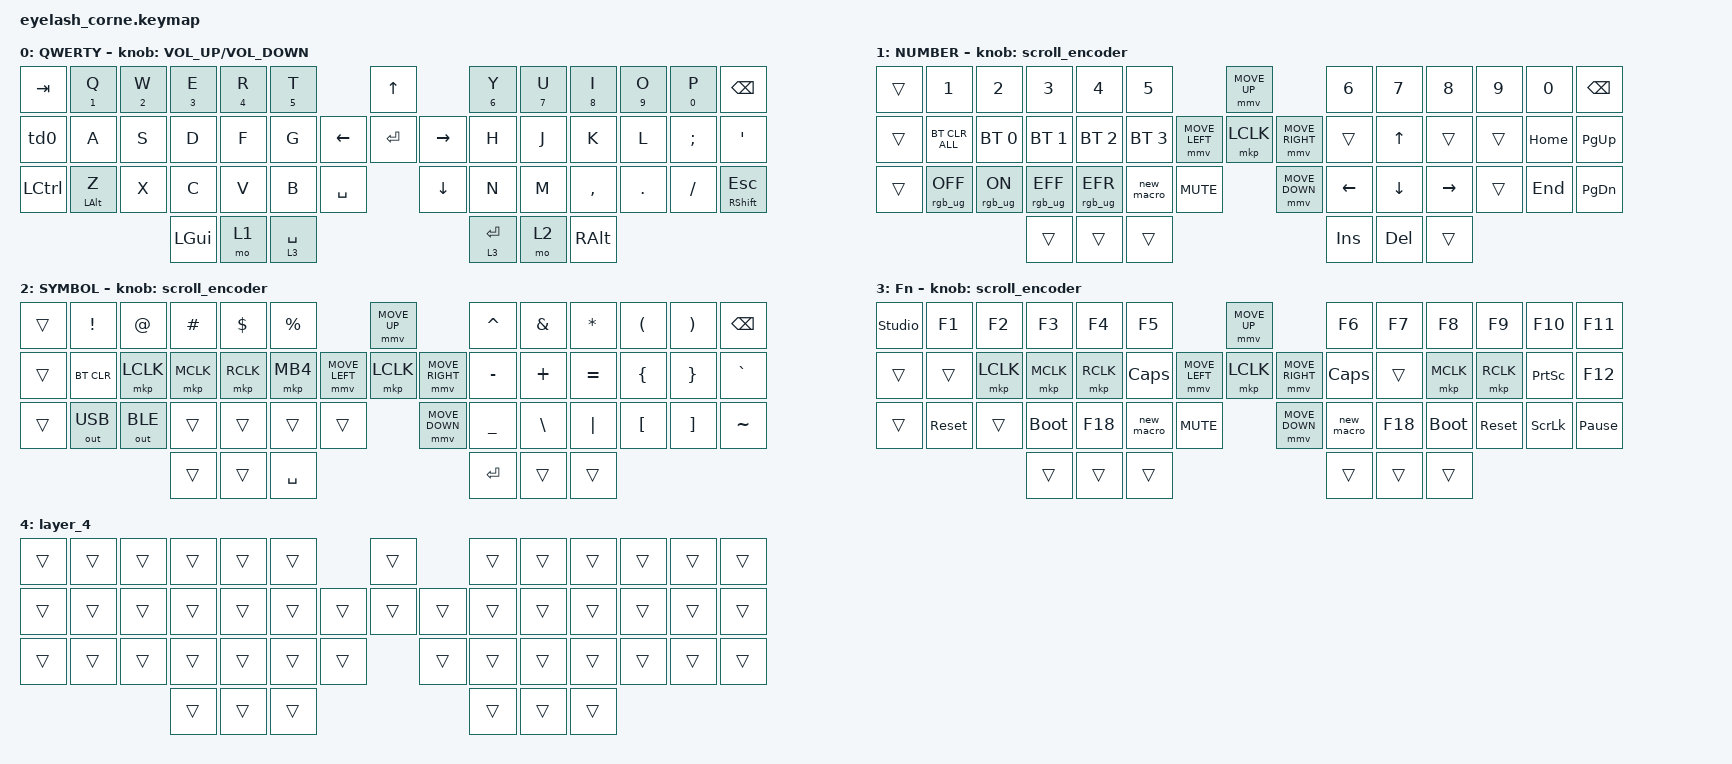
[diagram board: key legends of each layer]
#define ZMK_POINTING_DEFAULT_MOVE_VAL 1200  // 600
#define ZMK_POINTING_DEFAULT_SCRL_VAL 25   // 10

#include <input/processors.dtsi>
#include <zephyr/dt-bindings/input/input-event-codes.h>
#include <behaviors.dtsi>
#include <dt-bindings/zmk/bt.h>
#include <dt-bindings/zmk/keys.h>
#include <dt-bindings/zmk/outputs.h>
#include <dt-bindings/zmk/pointing.h>
#include <dt-bindings/zmk/rgb.h>

&mmv_input_listener { input-processors = <&zip_xy_scaler 2 1>; };

&msc_input_listener { input-processors = <&zip_scroll_scaler 2 1>; };

&msc {
    acceleration-exponent = <1>;      // 0
    time-to-max-speed-ms = <100>;       // 300
    delay-ms = <0>;                   // 0
};

&mmv {
    time-to-max-speed-ms = <500>;
    acceleration-exponent = <1>;
    trigger-period-ms = <16>;
};

&mt { flavor = "tap-preferred"; };

/ {
    behaviors {
        td0: td0 {
            compatible = "zmk,behavior-tap-dance";
            display-name = "Shift/Caps Lock Tap Dance";
            #binding-cells = <0>;
            bindings = <&kp LEFT_SHIFT>, <&caps_word>;

            tapping-term-ms = <300>;
        };
    };

    rgb_encoder: rgb_encoder {
        compatible = "zmk,behavior-sensor-rotate";
        #sensor-binding-cells = <0>;
        bindings = <&rgb_ug RGB_BRI>, <&rgb_ug RGB_BRD>;
    };

    scroll_encoder: scroll_encoder {
        compatible = "zmk,behavior-sensor-rotate";
        #sensor-binding-cells = <0>;
        bindings = <&msc SCRL_DOWN>, <&msc SCRL_UP>;

        tap-ms = <100>;
    };

    macros {
        new_macro: new_macro {
            compatible = "zmk,behavior-macro";
            #binding-cells = <0>;
            bindings = <&kp LS(F) &kp B &kp E &kp O &kp G &kp H &kp K &kp S &kp AT &kp N8 &kp N5 &kp N0 &kp N3 &kp N2 &kp N9>;
            label = "NEW_MACRO";
        };
    };

    keymap {
        compatible = "zmk,keymap";

        default_layer {
            display-name = "QWERTY";
            bindings = <
&kp TAB    &mt NUMBER_1 Q  &mt NUMBER_2 W  &mt NUMBER_3 E  &mt NUMBER_4 R  &mt NUMBER_5 T                         &kp UP                &mt NUMBER_6 Y  &mt NUMBER_7 U  &mt NUMBER_8 I  &mt NUMBER_9 O  &mt NUMBER_0 P  &kp BSPC
&td0       &kp A           &kp S           &kp D           &kp F           &kp G                        &kp LEFT  &kp ENTER  &kp RIGHT  &kp H           &kp J           &kp K           &kp L           &kp SEMI        &kp SQT
&kp LCTRL  &mt LEFT_ALT Z  &kp X           &kp C           &kp V           &kp B           &kp SPACE              &kp DOWN              &kp N           &kp M           &kp COMMA       &kp DOT         &kp FSLH        &mt RIGHT_SHIFT ESCAPE
                                           &kp LGUI        &mo 1           &lt 3 SPACE                                                  &lt 3 ENTER     &mo 2           &kp RIGHT_ALT
            >;

            sensor-bindings = <&inc_dec_kp C_VOLUME_UP C_VOLUME_DOWN>;
        };

        lower_layer {
            display-name = "NUMBER";
            bindings = <
&trans  &kp N1           &kp N2          &kp N3           &kp N4           &kp N5                                      &mmv MOVE_UP                     &kp N6    &kp N7        &kp N8     &kp N9  &kp N0    &kp BSPC
&trans  &bt BT_CLR_ALL   &bt BT_SEL 0    &bt BT_SEL 1     &bt BT_SEL 2     &bt BT_SEL 3                &mmv MOVE_LEFT  &mkp LCLK       &mmv MOVE_RIGHT  &trans    &kp UP_ARROW  &trans     &trans  &kp HOME  &kp PG_UP
&trans  &rgb_ug RGB_OFF  &rgb_ug RGB_ON  &rgb_ug RGB_EFF  &rgb_ug RGB_EFR  &new_macro    &kp C_MUTE                    &mmv MOVE_DOWN                   &kp LEFT  &kp DOWN      &kp RIGHT  &trans  &kp END   &kp PG_DN
                                         &trans           &trans           &trans                                                                       &kp INS   &kp DEL       &trans
            >;

            sensor-bindings = <&scroll_encoder>;
        };

        raise_layer {
            display-name = "SYMBOL";
            bindings = <
&trans  &kp EXCL      &kp AT        &kp HASH   &kp DLLR   &kp PRCNT                            &mmv MOVE_UP                     &kp CARET  &kp AMPS       &kp ASTRK  &kp LPAR          &kp RPAR           &kp BSPC
&trans  &bt BT_CLR    &mkp LCLK     &mkp MCLK  &mkp RCLK  &mkp MB4             &mmv MOVE_LEFT  &mkp LCLK       &mmv MOVE_RIGHT  &kp MINUS  &kp PLUS       &kp EQUAL  &kp LEFT_BRACE    &kp RIGHT_BRACE    &kp GRAVE
&trans  &out OUT_USB  &out OUT_BLE  &trans     &trans     &trans     &trans                    &mmv MOVE_DOWN                   &kp UNDER  &kp BACKSLASH  &kp PIPE   &kp LEFT_BRACKET  &kp RIGHT_BRACKET  &kp TILDE
                                    &trans     &trans     &kp SPACE                                                             &kp RET    &trans         &trans
            >;

            sensor-bindings = <&scroll_encoder>;
        };

        layer_3 {
            display-name = "Fn";
            bindings = <
&studio_unlock  &kp F1      &kp F2     &kp F3       &kp F4     &kp F5                                    &mmv MOVE_UP                     &kp F6      &kp F7   &kp F8       &kp F9      &kp F10          &kp F11
&trans          &trans      &mkp LCLK  &mkp MCLK    &mkp RCLK  &kp CLCK                  &mmv MOVE_LEFT  &mkp LCLK       &mmv MOVE_RIGHT  &kp CAPS    &trans   &mkp MCLK    &mkp RCLK   &kp PRINTSCREEN  &kp F12
&trans          &sys_reset  &trans     &bootloader  &kp F18    &new_macro  &kp C_MUTE                    &mmv MOVE_DOWN                   &new_macro  &kp F18  &bootloader  &sys_reset  &kp SCROLLLOCK   &kp PAUSE_BREAK
                                       &trans       &trans     &trans                                                                     &trans      &trans   &trans
            >;

            sensor-bindings = <&scroll_encoder>;
        };

        layer_4 {
            bindings = <
&trans  &trans  &trans  &trans  &trans  &trans                    &trans          &trans  &trans  &trans  &trans  &trans  &trans
&trans  &trans  &trans  &trans  &trans  &trans            &trans  &trans  &trans  &trans  &trans  &trans  &trans  &trans  &trans
&trans  &trans  &trans  &trans  &trans  &trans  &trans            &trans          &trans  &trans  &trans  &trans  &trans  &trans
                        &trans  &trans  &trans                                    &trans  &trans  &trans
            >;
        };
    };
};
